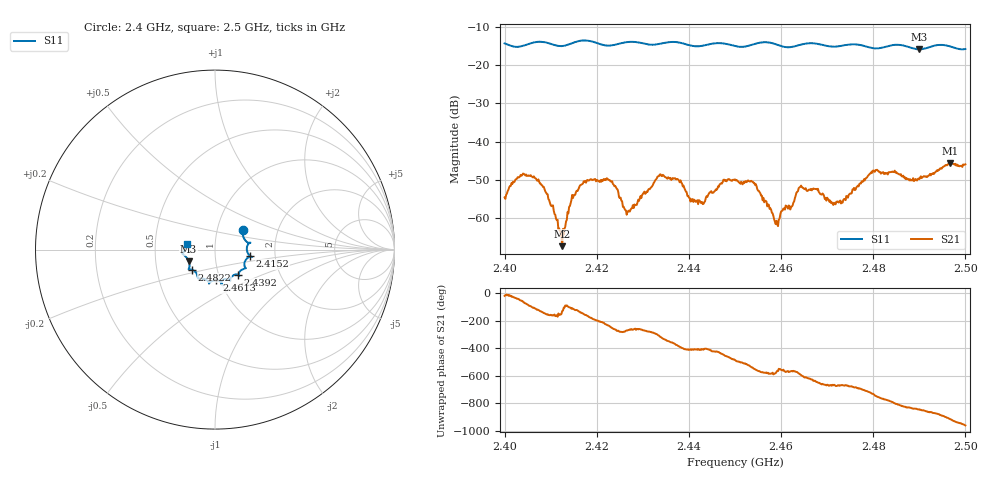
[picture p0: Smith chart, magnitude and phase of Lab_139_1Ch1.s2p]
# Hz S RI R 50
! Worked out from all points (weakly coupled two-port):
!   601 points, 2.4 GHz to 2.5 GHz, reference 50 ohm
!   highest |S21| = -45.69 dB at 2.4967 GHz (marker M1); lowest = -67.3 dB at 2.4125 GHz (marker M2)
!   lowest |S11| = -15.9 dB at 2.49 GHz (marker M3), VSWR 1.38, Z = 36.9 - j4.87 ohm
!   |S11| at or under -10 dB: start of sweep to end of sweep
!   S12 and S22 are empty: the file has one direction only
!   S11 on the Smith chart (normalised r, x): 2.4 GHz: 1.33, +0.31; 2.4152 GHz: 1.48, -0.11; 2.4392 GHz: 1.23, -0.36; 2.4613 GHz: 0.96, -0.34; 2.4822 GHz: 0.76, -0.17; 2.5 GHz: 0.72, +0.05
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2.4e9  0.1564 0.1113  0.00176 -0.000606  0 0  0 0
2.403667e9  0.1685 0.0519  0.00206 -0.00293  0 0  0 0
2.406833e9  0.1964 0.0372  -0.00137 -0.00298  0 0  0 0
2.4125e9  0.1771 -0.00107  -0.000272 -0.000333  0 0  0 0
2.415167e9  0.195 -0.0355  -0.000969 -0.00174  0 0  0 0
2.416667e9  0.2045 -0.0416  -0.00214 -0.00171  0 0  0 0
2.422833e9  0.1654 -0.0705  -0.00153 0.00273  0 0  0 0
2.426833e9  0.1716 -0.1035  -5.29e-05 0.00122  0 0  0 0
2.433333e9  0.1331 -0.1324  0.00206 0.00285  0 0  0 0
2.439167e9  0.1271 -0.1388  0.00158 -0.00173  0 0  0 0
2.443e9  0.0903 -0.1547  0.001 -0.00115  0 0  0 0
2.45e9  0.0686 -0.1636  -0.00188 -0.0026  0 0  0 0
2.454167e9  0.0348 -0.1846  -0.00284 0.000517  0 0  0 0
2.459e9  0.0342 -0.1827  -0.000779 0.000495  0 0  0 0
2.461333e9  0.00764 -0.1707  -0.00125 0.000652  0 0  0 0
2.466667e9  -0.0333 -0.19  -9.73e-05 0.0023  0 0  0 0
2.471667e9  -0.0612 -0.1629  0.000971 0.00119  0 0  0 0
2.482167e9  -0.128 -0.112  0.00271 -0.00292  0 0  0 0
2.483333e9  -0.1393 -0.1104  0.00197 -0.00347  0 0  0 0
2.49e9  -0.1469 -0.0642  -0.00184 -0.00265  0 0  0 0
2.496667e9  -0.1748 -0.0143  -0.00501 0.00139  0 0  0 0
2.5e9  -0.1585 0.0335  -0.00235 0.00445  0 0  0 0
